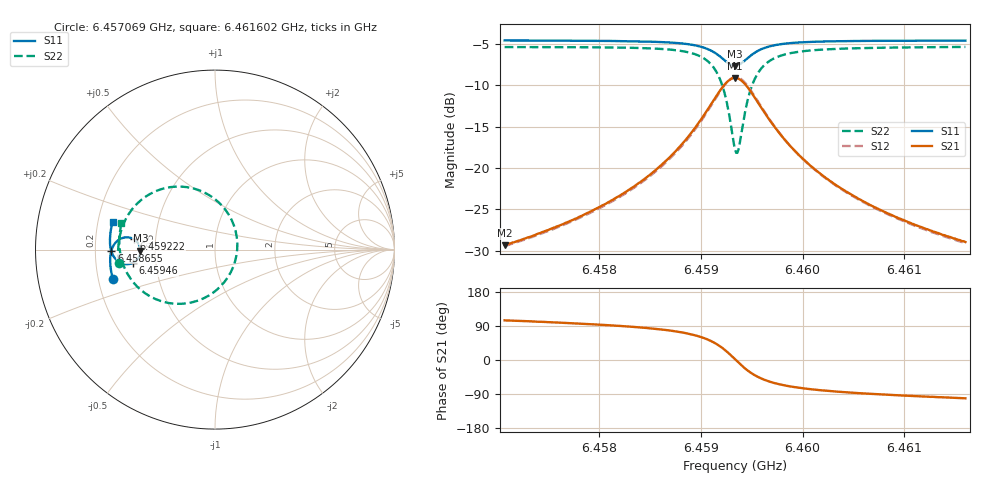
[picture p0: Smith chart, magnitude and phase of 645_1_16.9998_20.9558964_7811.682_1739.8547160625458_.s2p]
#  HZ  S  RI  R  50.00
! Rohde & Schwarz Vector Network Analyzer
! Rohde-Schwarz,ZNB20-2Port,1311601062101988,3.16
! Created: UTC 3/20/2024, 11:21:00 PM
! freq[Hz]  re:S11  im:S11  re:S21  im:S21  re:S12  im:S12  re:S22  im:S22
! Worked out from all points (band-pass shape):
!   401 points, 6.457069 GHz to 6.461602 GHz, reference 50 ohm
!   highest |S21| = -9.08 dB at 6.459335 GHz (marker M1); lowest = -29.3 dB at 6.457069 GHz (marker M2)
!   |S21| within 3 dB of the highest: 6.459109 GHz to 6.459563 GHz (453.2 kHz wide, 0.00702 % of centre)
!   lowest |S11| = -7.6 dB at 6.459335 GHz (marker M3), VSWR 2.42, Z = 20.7 - j0.331 ohm
!   |S11| at or under -10 dB: nowhere
!   |S22| runs from -18.2 to -5.3 dB; largest |S21 - S12| = 0.014
!   S11 on the Smith chart (normalised r, x): 6.457069 GHz: 0.26, -0.13; 6.458655 GHz: 0.27, -0.00; 6.459222 GHz: 0.38, +0.05; 6.45946 GHz: 0.37, -0.07; 6.461602 GHz: 0.26, +0.12
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6.4570685e9  -0.5687 -0.1651  -0.0086 0.033  -0.00678 0.033  -0.5346 -0.0764
6.4578278e9  -0.5817 -0.0983  -0.00504 0.0512  -0.00257 0.0507  -0.5386 0.0137
6.4582472e9  -0.5841 -0.056  0.00118 0.071  0.00442 0.0694  -0.5292 0.0811
6.4585872e9  -0.5798 -0.015  0.0155 0.1002  0.0194 0.0973  -0.5029 0.159
6.4586552e9  -0.5775 -0.00548  0.0208 0.1086  0.0249 0.1053  -0.4924 0.1792
6.4588478e9  -0.5644 0.0249  0.0481 0.1397  0.0521 0.1346  -0.4413 0.2486
6.4589952e9  -0.5413 0.051  0.0942 0.1702  0.0974 0.1634  -0.356 0.3132
6.4591312e9  -0.497 0.0684  0.1827 0.1867  0.1834 0.1791  -0.194 0.3511
6.4592218e9  -0.4517 0.0576  0.2737 0.1545  0.2737 0.1486  -0.0251 0.2989
6.4592898e9  -0.4223 0.0249  0.3348 0.0813  0.3371 0.076  0.092 0.1666
6.4593352e9  -0.4153 -0.00663  0.3513 0.0121  0.3551 0.00515  0.1243 0.0369
6.4593692e9  -0.4194 -0.0308  0.3453 -0.0412  0.3492 -0.0504  0.1121 -0.0646
6.4594145e9  -0.4354 -0.0574  0.3157 -0.1021  0.3183 -0.1143  0.0527 -0.1801
6.4594598e9  -0.4578 -0.074  0.2727 -0.1438  0.272 -0.1574  -0.0348 -0.2562
6.4595505e9  -0.502 -0.0809  0.1861 -0.175  0.1797 -0.1868  -0.2078 -0.302
6.4596185e9  -0.5266 -0.0734  0.1369 -0.1726  0.1286 -0.1817  -0.3032 -0.286
6.4596978e9  -0.5464 -0.0602  0.0966 -0.1601  0.0879 -0.1665  -0.3785 -0.2503
6.4598565e9  -0.5681 -0.0323  0.0512 -0.1313  0.0434 -0.1342  -0.4598 -0.1763
6.4600945e9  -0.5809 0.00334  0.0219 -0.099  0.0159 -0.0994  -0.508 -0.0923
6.4604458e9  -0.5854 0.0455  0.0056 -0.0709  0.00135 -0.0705  -0.5293 -0.0101
6.4608538e9  -0.5834 0.0866  -0.00172 -0.0528  -0.00471 -0.0517  -0.533 0.0562
6.4616018e9  -0.571 0.1531  -0.00689 -0.035  -0.00857 -0.0342  -0.5213 0.1455
